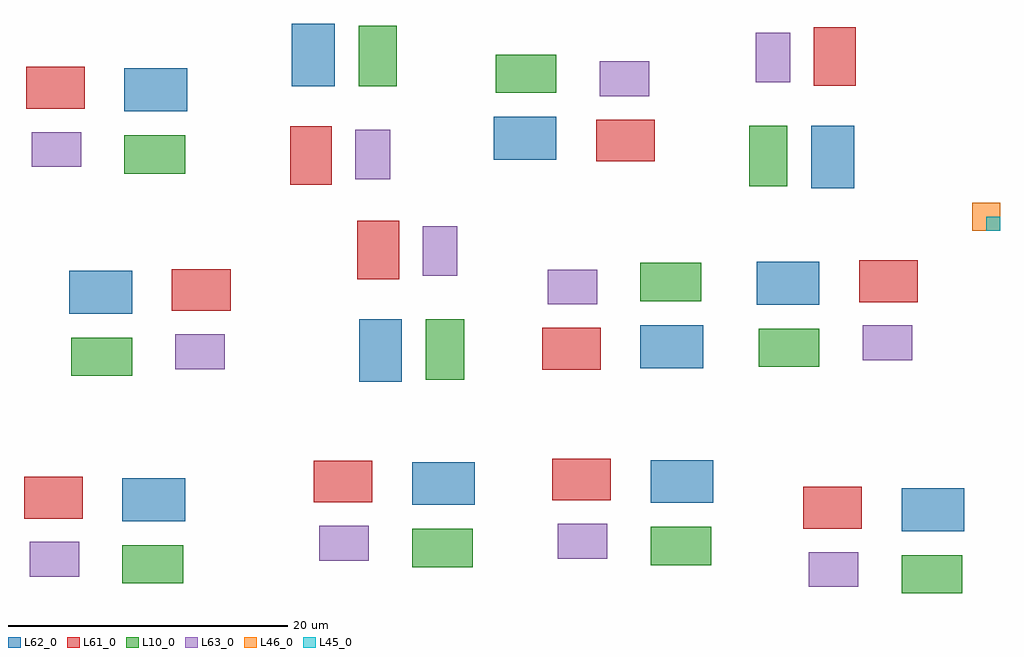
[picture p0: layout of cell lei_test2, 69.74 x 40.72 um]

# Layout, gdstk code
from math import pi, radians
import gdstk
lib = gdstk.Library(unit=1e-6, precision=1e-09)
def R(c, l, rs):  # rectangles x0, y0, x1, y1
    for r in rs: c.add(gdstk.rectangle(r[:2], r[2:], *l))
L10_0 = (10, 0)
L45_0 = (45, 0)
L46_0 = (46, 0)
L61_0 = (61, 0)
L62_0 = (62, 0)
L63_0 = (63, 0)

lei_test = lib.new_cell('lei_test')
R(lei_test, L10_0, [(1.33,-4.032,5.665,-1.296)])
R(lei_test, L61_0, [(-5.702,0.601,-1.512,3.589)])
R(lei_test, L62_0, [(1.33,0.419,5.811,3.48)])
R(lei_test, L63_0, [(-5.301,-3.552,-1.767,-1.075)])

struc1 = lib.new_cell('struc1')
R(struc1, L45_0, [(-1,-1,0,0)])
R(struc1, L46_0, [(-2,-2,0,0)])

lei_test2 = lib.new_cell('lei_test2')
lei_test2.add(gdstk.Reference(lei_test, (-8.363,-21.888)))
lei_test2.add(gdstk.Reference(lei_test, (-26.289,-19.872)))
lei_test2.add(gdstk.Reference(lei_test, (-43.341,-20.016)))
lei_test2.add(gdstk.Reference(lei_test, (-64.035,-21.168)))
lei_test2.add(gdstk.Reference(lei_test, (-11.57,-5.698), rotation=pi, x_reflection=True))
lei_test2.add(gdstk.Reference(lei_test, (-27.018,-6.336), x_reflection=True))
lei_test2.add(gdstk.Reference(lei_test, (-42.32,-4.991), rotation=3*pi/2, x_reflection=True))
lei_test2.add(gdstk.Reference(lei_test, (-60.683,-6.336), rotation=pi, x_reflection=True))
lei_test2.add(gdstk.Reference(lei_test, (-13.901,8.833), rotation=3*pi/2))
lei_test2.add(gdstk.Reference(lei_test, (-30.37,8.544), rotation=pi))
lei_test2.add(gdstk.Reference(lei_test, (-47.13,8.99), rotation=pi/2))
lei_test2.add(gdstk.Reference(lei_test, (-63.89,8.112)))
lei_test2.add(gdstk.Reference(struc1, (0,0), rotation=3*pi/2))

lib.write_gds('lei_test2.gds')
